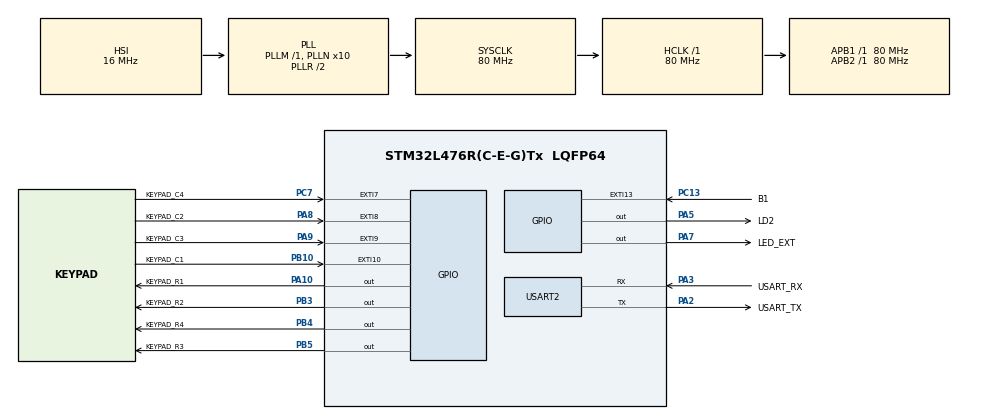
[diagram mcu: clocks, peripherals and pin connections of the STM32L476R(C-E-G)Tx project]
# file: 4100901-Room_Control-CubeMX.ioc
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Mcu.Family=STM32L4
Mcu.Name=STM32L476R(C-E-G)Tx
Mcu.Package=LQFP64
NVIC.EXTI15_10_IRQn=true\:0\:0\:false\:false\:true\:true\:true\:true
NVIC.EXTI9_5_IRQn=true\:0\:0\:false\:false\:true\:true\:true\:true
NVIC.PriorityGroup=NVIC_PRIORITYGROUP_4
NVIC.USART2_IRQn=true\:0\:0\:false\:false\:true\:true\:true\:true
PA10.GPIO_Label=KEYPAD_R1
PA10.Signal=GPIO_Output
PA13\ (JTMS-SWDIO).GPIO_Label=TMS
PA13\ (JTMS-SWDIO).Mode=Serial_Wire
PA13\ (JTMS-SWDIO).Signal=SYS_JTMS-SWDIO
PA14\ (JTCK-SWCLK).GPIO_Label=TCK
PA14\ (JTCK-SWCLK).Mode=Serial_Wire
PA14\ (JTCK-SWCLK).Signal=SYS_JTCK-SWCLK
PA2.GPIO_Label=USART_TX
PA2.GPIO_Mode=GPIO_MODE_AF_PP
PA2.GPIO_PuPd=GPIO_NOPULL
PA2.GPIO_Speed=GPIO_SPEED_FREQ_VERY_HIGH
PA2.Mode=Asynchronous
PA2.Signal=USART2_TX
PA3.GPIO_Label=USART_RX
PA3.GPIO_Mode=GPIO_MODE_AF_PP
PA3.GPIO_PuPd=GPIO_NOPULL
PA3.GPIO_Speed=GPIO_SPEED_FREQ_VERY_HIGH
PA3.Mode=Asynchronous
PA3.Signal=USART2_RX
PA5.GPIO_Label=LD2
PA5.GPIO_ModeDefaultOutputPP=GPIO_MODE_OUTPUT_PP
PA5.GPIO_PuPd=GPIO_NOPULL
PA5.GPIO_Speed=GPIO_SPEED_FREQ_LOW
PA5.Signal=GPIO_Output
PA7.GPIO_Label=LED_EXT
PA7.Signal=GPIO_Output
PA8.GPIO_Label=KEYPAD_C2
PA8.GPIO_ModeDefaultEXTI=GPIO_MODE_IT_FALLING
PA8.GPIO_PuPd=GPIO_PULLUP
PA8.Signal=GPXTI8
PA9.GPIO_Label=KEYPAD_C3
PA9.GPIO_ModeDefaultEXTI=GPIO_MODE_IT_FALLING
PA9.GPIO_PuPd=GPIO_PULLUP
PA9.Signal=GPXTI9
PB10.GPIO_Label=KEYPAD_C1
PB10.GPIO_ModeDefaultEXTI=GPIO_MODE_IT_FALLING
PB10.GPIO_PuPd=GPIO_PULLUP
PB10.Signal=GPXTI10
PB3\ (JTDO-TRACESWO).GPIO_Label=KEYPAD_R2
PB3\ (JTDO-TRACESWO).Signal=GPIO_Output
PB4\ (NJTRST).GPIO_Label=KEYPAD_R4
PB4\ (NJTRST).Signal=GPIO_Output
PB5.GPIO_Label=KEYPAD_R3
PB5.Signal=GPIO_Output
PC13.GPIO_Label=B1
PC13.GPIO_ModeDefaultEXTI=GPIO_MODE_IT_FALLING
PC13.GPIO_PuPd=GPIO_NOPULL
PC13.Signal=GPXTI13
PC14-OSC32_IN\ (PC14).Mode=LSE-External-Oscillator
PC14-OSC32_IN\ (PC14).Signal=RCC_OSC32_IN
PC15-OSC32_OUT\ (PC15).Mode=LSE-External-Oscillator
PC15-OSC32_OUT\ (PC15).Signal=RCC_OSC32_OUT
PC7.GPIO_Label=KEYPAD_C4
PC7.GPIO_ModeDefaultEXTI=GPIO_MODE_IT_FALLING
PC7.GPIO_PuPd=GPIO_PULLUP
PC7.Signal=GPXTI7
PH0-OSC_IN\ (PH0).Signal=RCC_OSC_IN
PH1-OSC_OUT\ (PH1).Signal=RCC_OSC_OUT
ProjectManager.HeapSize=0x200
ProjectManager.StackSize=0x400
ProjectManager.TargetToolchain=CMake
RCC.ADCFreq_Value=64000000
RCC.AHBFreq_Value=80000000
RCC.APB1Freq_Value=80000000
RCC.APB1TimFreq_Value=80000000
RCC.APB2Freq_Value=80000000
RCC.APB2TimFreq_Value=80000000
RCC.CortexFreq_Value=80000000
RCC.HCLKFreq_Value=80000000
RCC.HSE_VALUE=8000000
RCC.HSI_VALUE=16000000
RCC.MSI_VALUE=4000000
RCC.PLLN=10
RCC.PLLSourceVirtual=RCC_PLLSOURCE_HSI
RCC.PREFETCH_ENABLE=1
RCC.SYSCLKFreq_VALUE=80000000
RCC.SYSCLKSource=RCC_SYSCLKSOURCE_PLLCLK
RCC.USBFreq_Value=64000000
RCC.VCOOutputFreq_Value=160000000
USART2.VirtualMode-Asynchronous=VM_ASYNC
board=NUCLEO-L476RG

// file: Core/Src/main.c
/* USER CODE BEGIN Header */
/**
  ******************************************************************************
  * @file           : main.c
  * @brief          : Main program body
  ******************************************************************************
  * @attention
  *
  * Copyright (c) 2025 STMicroelectronics.
  * All rights reserved.
  *
  * This software is licensed under terms that can be found in the LICENSE file
  * in the root directory of this software component.
  * If no LICENSE file comes with this software, it is provided AS-IS.
  *
  ******************************************************************************
  */
/* USER CODE END Header */
#include "main.h"

/* USER CODE BEGIN Includes */
#include "led_driver.h"
#include "ring_buffer.h"
#include "keypad_driver.h"
#include <stdio.h>
#include <string.h>
/* USER CODE END Includes */

UART_HandleTypeDef huart2;

/* USER CODE BEGIN PV */
led_handle_t led1 = { .port = GPIOA, .pin = GPIO_PIN_5 }; // LD2 en NUCLEO-L476RG

// define Led handle_t led_ext = { .port = GPIOA, .pin = LED_EXT_Pin }; // LED_EXT en NUCLEO-L476RG
led_handle_t led_door = { .port = LED_EXT_GPIO_Port, .pin = LED_EXT_Pin }; // LED externo

/* UART2 RX buffer and ring buffer */
#define UART2_RX_LEN 16
uint8_t uart2_rx_buffer[UART2_RX_LEN];
ring_buffer_t uart2_rx_rb;
uint8_t uart2_rx_data; // Variable to hold received data

/* Keypad configuration */
keypad_handle_t keypad = {
    .row_ports = {KEYPAD_R1_GPIO_Port, KEYPAD_R2_GPIO_Port, KEYPAD_R3_GPIO_Port, KEYPAD_R4_GPIO_Port},
    .row_pins  = {KEYPAD_R1_Pin, KEYPAD_R2_Pin, KEYPAD_R3_Pin, KEYPAD_R4_Pin},
    .col_ports = {KEYPAD_C1_GPIO_Port, KEYPAD_C2_GPIO_Port, KEYPAD_C3_GPIO_Port, KEYPAD_C4_GPIO_Port},
    .col_pins  = {KEYPAD_C1_Pin, KEYPAD_C2_Pin, KEYPAD_C3_Pin, KEYPAD_C4_Pin}
};

#define KEYPAD_BUFFER_LEN 16
uint8_t keypad_buffer[KEYPAD_BUFFER_LEN];
ring_buffer_t keypad_rb;

//DEFINIR VARIABLES DE ACCESO
#define ACCESS_CODE "5A8*" // Código de acceso a la puerta
#define ACCESS_CODE_LEN 4

char access_buffer[ACCESS_CODE_LEN + 1] = {0};
uint8_t access_index = 0;
uint8_t access_granted = 0;

/* USER CODE END PV */

void SystemClock_Config(void);
static void MX_GPIO_Init(void);
static void MX_USART2_UART_Init(void);

/* USER CODE BEGIN 0 */
void HAL_UART_RxCpltCallback(UART_HandleTypeDef *huart)
{
    if (huart->Instance == USART2) {
      HAL_UART_Receive_IT(&huart2, &uart2_rx_data, 1);
      ring_buffer_write(&uart2_rx_rb, uart2_rx_data);
    }
}

void HAL_GPIO_EXTI_Callback(uint16_t GPIO_Pin) {
    char key = keypad_scan(&keypad, GPIO_Pin);
    if (key != '\0') {
        ring_buffer_write(&keypad_rb, (uint8_t)key);
    }
}
/* USER CODE END 0 */

int main(void)
{

  /* MCU Configuration--------------------------------------------------------*/

  /* Reset of all peripherals, Initializes the Flash interface and the Systick. */
  HAL_Init();

  /* Configure the system clock */
  SystemClock_Config();

  /* Initialize all configured peripherals */
  MX_GPIO_Init();
  MX_USART2_UART_Init();
  /* USER CODE BEGIN 2 */
  led_init(&led1);
  led_init(&led_door); // Inicializa el LED externo

  // Initialize the ring buffer for UART2 RX
  ring_buffer_init(&uart2_rx_rb, uart2_rx_buffer, UART2_RX_LEN); //direccion de Rb, tamaño del buffer
  HAL_UART_Receive_IT(&huart2, &uart2_rx_data, 1);

  //ring_buffer_write(&uart2_rx_rb, 'H'); // Example of writing to the ring buffer
  //ring_buffer_write(&uart2_rx_rb, 'e');
  //ring_buffer_write(&uart2_rx_rb, 'l');
  //ring_buffer_write(&uart2_rx_rb, 'l');
  //ring_buffer_write(&uart2_rx_rb, 'o'); // Fill the buffer with some data
  //ring_buffer_write(&uart2_rx_rb, ' '); // Add a space
  //ring_buffer_write(&uart2_rx_rb, 'W');
  //ring_buffer_write(&uart2_rx_rb, 'o');
  //ring_buffer_write(&uart2_rx_rb, 'r');
  //ring_buffer_write(&uart2_rx_rb, 'l');
  //ring_buffer_write(&uart2_rx_rb, 'd'); // Add more data to the buffer
  //ring_buffer_write(&uart2_rx_rb, '!'); // Add an exclamation mark
  //ring_buffer_write(&uart2_rx_rb, '1'); // Add an exclamation mark
  //ring_buffer_write(&uart2_rx_rb, '2'); // Add an exclamation mark
  //ring_buffer_write(&uart2_rx_rb, '3'); // Add an exclamation mark
  //ring_buffer_write(&uart2_rx_rb, '4'); // Add an exclamation mark
  //ring_buffer_write(&uart2_rx_rb, '5'); // Add an exclamation mark

  // Now the ring buffer contains "Hello World!" and is ready to be read

  // Initialize the ring buffer for keypad
  ring_buffer_init(&keypad_rb, keypad_buffer, KEYPAD_BUFFER_LEN);
  keypad_init(&keypad);
  printf("Sistema listo. Esperando pulsaciones del teclado...\r\n");

  /* USER CODE END 2 */

  /* Infinite loop */
  /* USER CODE BEGIN WHILE */
  while (1)
  {
    // Solo alterna los LEDs si el acceso NO ha sido concedido
    if (!access_granted) {
        led_toggle(&led1);
        led_toggle(&led_door);
        HAL_Delay(500);
    } else {
        // Si el acceso fue concedido, asegúrate de que los LEDs estén encendidos
        led_on(&led1);
        led_on(&led_door);
        HAL_Delay(50); // Pequeño delay opcional para evitar sobrecarga de CPU
    }

    //KEYPAD
    uint8_t key_from_buffer;
    if (ring_buffer_read(&keypad_rb, &key_from_buffer)) {
        printf("Tecla presionada: %c\r\n", (char)key_from_buffer);

        if (!access_granted) {
            access_buffer[access_index++] = (char)key_from_buffer;

            if (access_index == ACCESS_CODE_LEN) {
                access_buffer[ACCESS_CODE_LEN] = '\0'; // Null-terminate

                if (strcmp(access_buffer, ACCESS_CODE) == 0) {
                    printf("Acceso concedido\r\n");
                    access_granted = 1;
                    led_on(&led1);
                    led_on(&led_door);
                } else {
                    printf("Acceso denegado\r\n");
                    // Parpadea los LEDs para indicar error
                    for (int i = 0; i < 4; i++) {
                        led_on(&led1);
                        led_on(&led_door);
                        HAL_Delay(150);
                        led_off(&led1);
                        led_off(&led_door);
                        HAL_Delay(150);
                    }
                    access_granted = 0;
                    led_off(&led1);
                    led_off(&led_door);
                }
                access_index = 0; // Reinicia para el próximo intento
            }
        }
    }

    /* USER CODE END WHILE */

  }
}

void SystemClock_Config(void)
{
  RCC_OscInitTypeDef RCC_OscInitStruct = {0};
  RCC_ClkInitTypeDef RCC_ClkInitStruct = {0};

  /** Configure the main internal regulator output voltage
  */
  if (HAL_PWREx_ControlVoltageScaling(PWR_REGULATOR_VOLTAGE_SCALE1) != HAL_OK)
  {
    Error_Handler();
  }

  /** Initializes the RCC Oscillators according to the specified parameters
  * in the RCC_OscInitTypeDef structure.
  */
  RCC_OscInitStruct.OscillatorType = RCC_OSCILLATORTYPE_HSI;
  RCC_OscInitStruct.HSIState = RCC_HSI_ON;
  RCC_OscInitStruct.HSICalibrationValue = RCC_HSICALIBRATION_DEFAULT;
  RCC_OscInitStruct.PLL.PLLState = RCC_PLL_ON;
  RCC_OscInitStruct.PLL.PLLSource = RCC_PLLSOURCE_HSI;
  RCC_OscInitStruct.PLL.PLLM = 1;
  RCC_OscInitStruct.PLL.PLLN = 10;
  RCC_OscInitStruct.PLL.PLLP = RCC_PLLP_DIV7;
  RCC_OscInitStruct.PLL.PLLQ = RCC_PLLQ_DIV2;
  RCC_OscInitStruct.PLL.PLLR = RCC_PLLR_DIV2;
  if (HAL_RCC_OscConfig(&RCC_OscInitStruct) != HAL_OK)
  {
    Error_Handler();
  }

  /** Initializes the CPU, AHB and APB buses clocks
  */
  RCC_ClkInitStruct.ClockType = RCC_CLOCKTYPE_HCLK|RCC_CLOCKTYPE_SYSCLK
                              |RCC_CLOCKTYPE_PCLK1|RCC_CLOCKTYPE_PCLK2;
  RCC_ClkInitStruct.SYSCLKSource = RCC_SYSCLKSOURCE_PLLCLK;
  RCC_ClkInitStruct.AHBCLKDivider = RCC_SYSCLK_DIV1;
  RCC_ClkInitStruct.APB1CLKDivider = RCC_HCLK_DIV1;
  RCC_ClkInitStruct.APB2CLKDivider = RCC_HCLK_DIV1;

  if (HAL_RCC_ClockConfig(&RCC_ClkInitStruct, FLASH_LATENCY_4) != HAL_OK)
  {
    Error_Handler();
  }
}

static void MX_USART2_UART_Init(void)
{

  huart2.Instance = USART2;
  huart2.Init.BaudRate = 115200;
  huart2.Init.WordLength = UART_WORDLENGTH_8B;
  huart2.Init.StopBits = UART_STOPBITS_1;
  huart2.Init.Parity = UART_PARITY_NONE;
  huart2.Init.Mode = UART_MODE_TX_RX;
  huart2.Init.HwFlowCtl = UART_HWCONTROL_NONE;
  huart2.Init.OverSampling = UART_OVERSAMPLING_16;
  huart2.Init.OneBitSampling = UART_ONE_BIT_SAMPLE_DISABLE;
  huart2.AdvancedInit.AdvFeatureInit = UART_ADVFEATURE_NO_INIT;
  if (HAL_UART_Init(&huart2) != HAL_OK)
  {
    Error_Handler();
  }

}

static void MX_GPIO_Init(void)
{
  GPIO_InitTypeDef GPIO_InitStruct = {0};

  /* GPIO Ports Clock Enable */
  __HAL_RCC_GPIOC_CLK_ENABLE();
  __HAL_RCC_GPIOH_CLK_ENABLE();
  __HAL_RCC_GPIOA_CLK_ENABLE();
  __HAL_RCC_GPIOB_CLK_ENABLE();

  /*Configure GPIO pin Output Level */
  HAL_GPIO_WritePin(GPIOA, LD2_Pin|LED_EXT_Pin|KEYPAD_R1_Pin, GPIO_PIN_RESET);

  /*Configure GPIO pin Output Level */
  HAL_GPIO_WritePin(GPIOB, KEYPAD_R2_Pin|KEYPAD_R4_Pin|KEYPAD_R3_Pin, GPIO_PIN_RESET);

  /*Configure GPIO pin : B1_Pin */
  GPIO_InitStruct.Pin = B1_Pin;
  GPIO_InitStruct.Mode = GPIO_MODE_IT_FALLING;
  GPIO_InitStruct.Pull = GPIO_NOPULL;
  HAL_GPIO_Init(B1_GPIO_Port, &GPIO_InitStruct);

  /*Configure GPIO pins : LD2_Pin LED_EXT_Pin KEYPAD_R1_Pin */
  GPIO_InitStruct.Pin = LD2_Pin|LED_EXT_Pin|KEYPAD_R1_Pin;
  GPIO_InitStruct.Mode = GPIO_MODE_OUTPUT_PP;
  GPIO_InitStruct.Pull = GPIO_NOPULL;
  GPIO_InitStruct.Speed = GPIO_SPEED_FREQ_LOW;
  HAL_GPIO_Init(GPIOA, &GPIO_InitStruct);

  /*Configure GPIO pin : KEYPAD_C1_Pin */
  GPIO_InitStruct.Pin = KEYPAD_C1_Pin;
  GPIO_InitStruct.Mode = GPIO_MODE_IT_FALLING;
  GPIO_InitStruct.Pull = GPIO_PULLUP;
  HAL_GPIO_Init(KEYPAD_C1_GPIO_Port, &GPIO_InitStruct);

  /*Configure GPIO pin : KEYPAD_C4_Pin */
  GPIO_InitStruct.Pin = KEYPAD_C4_Pin;
  GPIO_InitStruct.Mode = GPIO_MODE_IT_FALLING;
  GPIO_InitStruct.Pull = GPIO_PULLUP;
  HAL_GPIO_Init(KEYPAD_C4_GPIO_Port, &GPIO_InitStruct);

  /*Configure GPIO pins : KEYPAD_C2_Pin KEYPAD_C3_Pin */
  GPIO_InitStruct.Pin = KEYPAD_C2_Pin|KEYPAD_C3_Pin;
  GPIO_InitStruct.Mode = GPIO_MODE_IT_FALLING;
  GPIO_InitStruct.Pull = GPIO_PULLUP;
  HAL_GPIO_Init(GPIOA, &GPIO_InitStruct);

  /*Configure GPIO pins : KEYPAD_R2_Pin KEYPAD_R4_Pin KEYPAD_R3_Pin */
  GPIO_InitStruct.Pin = KEYPAD_R2_Pin|KEYPAD_R4_Pin|KEYPAD_R3_Pin;
  GPIO_InitStruct.Mode = GPIO_MODE_OUTPUT_PP;
  GPIO_InitStruct.Pull = GPIO_NOPULL;
  GPIO_InitStruct.Speed = GPIO_SPEED_FREQ_LOW;
  HAL_GPIO_Init(GPIOB, &GPIO_InitStruct);

  /* EXTI interrupt init*/
  HAL_NVIC_SetPriority(EXTI9_5_IRQn, 0, 0);
  HAL_NVIC_EnableIRQ(EXTI9_5_IRQn);

  HAL_NVIC_SetPriority(EXTI15_10_IRQn, 0, 0);
  HAL_NVIC_EnableIRQ(EXTI15_10_IRQn);

}

/* USER CODE BEGIN 4 */
int __io_putchar(int ch) {
    HAL_UART_Transmit(&huart2, (uint8_t *)&ch, 1, HAL_MAX_DELAY);
    return ch;
}
/* USER CODE END 4 */

void Error_Handler(void)
{
  __disable_irq();
  while (1)
  {
  }
}
